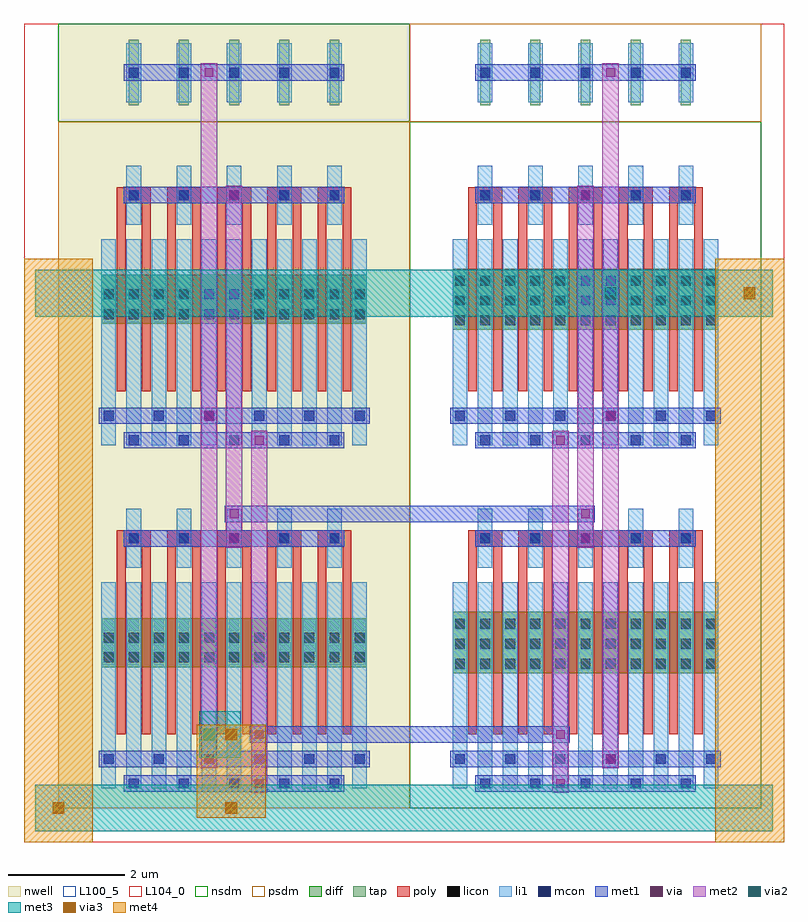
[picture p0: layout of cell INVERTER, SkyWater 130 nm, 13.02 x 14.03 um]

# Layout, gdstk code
import gdstk
lib = gdstk.Library(unit=1e-6, precision=1e-09)
def R(c, l, rs):  # rectangles x0, y0, x1, y1
    for r in rs: c.add(gdstk.rectangle(r[:2], r[2:], *l))
def A(c, l, x, y, w, h, nx, ny, dx, dy):  # array of equal rectangles
    R(c, l, [(x+i*dx, y+j*dy, x+i*dx+w, y+j*dy+h) for i in range(nx) for j in range(ny)])
nwell = (64, 20)
diff = (65, 20)
tap = (65, 44)
poly = (66, 20)
licon = (66, 44)
li1 = (67, 20)
mcon = (67, 44)
met1 = (68, 20)
via = (68, 44)
met2 = (69, 20)
via2 = (69, 44)
met3 = (70, 20)
via3 = (70, 44)
met4 = (71, 20)
nsdm = (93, 44)
psdm = (94, 20)
L100_5 = (100, 5)
L104_0 = (104, 0)

inverter = lib.new_cell('INVERTER')
R(inverter, nwell, [(0,0,6.02,13.44)])
R(inverter, diff, [(6.755,2.31,11.305,3.36), (0.735,2.415,5.285,3.255), (6.755,8.19,11.305,9.24), (0.735,8.295,5.285,9.135)])
A(inverter, tap, 1.205, 12.04, 0.17, 1.12, 5, 1, 0.86, 0)
A(inverter, tap, 7.225, 12.04, 0.17, 1.12, 5, 1, 0.86, 0)
A(inverter, poly, 1, 1.26, 0.15, 3.36, 10, 2, 0.43, 5.88)
A(inverter, poly, 7.02, 1.26, 0.15, 3.36, 10, 2, 0.43, 5.88)
A(inverter, poly, 1, 4.485, 0.58, 0.27, 5, 2, 0.86, 5.88)
A(inverter, poly, 7.02, 4.485, 0.58, 0.27, 5, 2, 0.86, 5.88)
A(inverter, licon, 6.795, 2.39, 0.17, 0.17, 3, 3, 0.43, 0.34)
A(inverter, licon, 7.655, 2.39, 0.17, 0.17, 3, 3, 0.43, 0.34)
A(inverter, licon, 8.515, 2.39, 0.17, 0.17, 3, 3, 0.43, 0.34)
A(inverter, licon, 9.375, 2.39, 0.17, 0.17, 3, 3, 0.43, 0.34)
A(inverter, licon, 10.235, 2.39, 0.17, 0.17, 3, 3, 0.43, 0.34)
A(inverter, licon, 0.775, 2.495, 0.17, 0.17, 3, 2, 0.43, 0.34)
A(inverter, licon, 1.635, 2.495, 0.17, 0.17, 3, 2, 0.43, 0.34)
A(inverter, licon, 2.495, 2.495, 0.17, 0.17, 3, 2, 0.43, 0.34)
A(inverter, licon, 3.355, 2.495, 0.17, 0.17, 3, 2, 0.43, 0.34)
A(inverter, licon, 4.215, 2.495, 0.17, 0.17, 3, 2, 0.43, 0.34)
A(inverter, licon, 1.205, 4.535, 0.17, 0.17, 5, 2, 0.86, 5.88)
A(inverter, licon, 7.225, 4.535, 0.17, 0.17, 5, 2, 0.86, 5.88)
A(inverter, licon, 6.795, 8.27, 0.17, 0.17, 3, 3, 0.43, 0.34)
A(inverter, licon, 7.655, 8.27, 0.17, 0.17, 3, 3, 0.43, 0.34)
A(inverter, licon, 8.515, 8.27, 0.17, 0.17, 3, 3, 0.43, 0.34)
A(inverter, licon, 9.375, 8.27, 0.17, 0.17, 3, 3, 0.43, 0.34)
A(inverter, licon, 10.235, 8.27, 0.17, 0.17, 3, 3, 0.43, 0.34)
A(inverter, licon, 0.775, 8.375, 0.17, 0.17, 3, 2, 0.43, 0.34)
A(inverter, licon, 1.635, 8.375, 0.17, 0.17, 3, 2, 0.43, 0.34)
A(inverter, licon, 2.495, 8.375, 0.17, 0.17, 3, 2, 0.43, 0.34)
A(inverter, licon, 3.355, 8.375, 0.17, 0.17, 3, 2, 0.43, 0.34)
A(inverter, licon, 4.215, 8.375, 0.17, 0.17, 3, 2, 0.43, 0.34)
R(inverter, licon, [(1.205,12.515,1.375,12.685), (1.205,12.515,1.375,12.685), (2.065,12.515,2.235,12.685), (2.065,12.515,2.235,12.685), (2.925,12.515,3.095,12.685), (2.925,12.515,3.095,12.685), (3.785,12.515,3.955,12.685), (3.785,12.515,3.955,12.685), (4.645,12.515,4.815,12.685), (4.645,12.515,4.815,12.685), (7.225,12.515,7.395,12.685), (7.225,12.515,7.395,12.685), (8.085,12.515,8.255,12.685), (8.085,12.515,8.255,12.685), (8.945,12.515,9.115,12.685), (8.945,12.515,9.115,12.685), (9.805,12.515,9.975,12.685), (9.805,12.515,9.975,12.685), (10.665,12.515,10.835,12.685), (10.665,12.515,10.835,12.685)])
A(inverter, li1, 0.735, 0.335, 0.25, 3.53, 11, 2, 0.43, 5.88)
A(inverter, li1, 6.755, 0.335, 0.25, 3.53, 11, 2, 0.43, 5.88)
A(inverter, li1, 1.165, 4.115, 0.25, 1.01, 5, 2, 0.86, 5.88)
A(inverter, li1, 7.185, 4.115, 0.25, 1.01, 5, 2, 0.86, 5.88)
A(inverter, li1, 1.165, 12.095, 0.25, 1.01, 5, 1, 0.86, 0)
A(inverter, li1, 7.185, 12.095, 0.25, 1.01, 5, 1, 0.86, 0)
A(inverter, mcon, 1.205, 0.335, 0.17, 0.17, 5, 2, 0.86, 4.2)
A(inverter, mcon, 7.225, 0.335, 0.17, 0.17, 5, 2, 0.86, 4.2)
A(inverter, mcon, 0.775, 0.755, 0.17, 0.17, 6, 2, 0.86, 5.88)
A(inverter, mcon, 6.795, 0.755, 0.17, 0.17, 6, 2, 0.86, 5.88)
A(inverter, mcon, 1.205, 6.215, 0.17, 0.17, 5, 2, 0.86, 4.2)
A(inverter, mcon, 7.225, 6.215, 0.17, 0.17, 5, 2, 0.86, 4.2)
A(inverter, mcon, 1.205, 12.515, 0.17, 0.17, 5, 1, 0.86, 0)
A(inverter, mcon, 7.225, 12.515, 0.17, 0.17, 5, 1, 0.86, 0)
R(inverter, met1, [(1.12,0.28,4.9,0.56), (7.14,0.28,10.92,0.56), (0.69,0.7,5.33,0.98), (6.71,0.7,11.35,0.98), (3.28,1.12,8.76,1.4), (1.12,4.48,4.9,4.76), (7.14,4.48,10.92,4.76), (2.85,4.9,9.19,5.18), (1.12,6.16,4.9,6.44), (7.14,6.16,10.92,6.44), (0.69,6.58,5.33,6.86), (6.71,6.58,11.35,6.86), (1.12,10.36,4.9,10.64), (7.14,10.36,10.92,10.64), (1.12,12.46,4.9,12.74), (7.14,12.46,10.92,12.74)])
A(inverter, via, 2.505, 0.765, 0.15, 0.15, 1, 3, 0, 5.88)
A(inverter, via, 9.385, 0.765, 0.15, 0.15, 1, 3, 0, 5.88)
R(inverter, via, [(3.365,0.345,3.515,0.495), (8.525,0.345,8.675,0.495), (3.365,1.185,3.515,1.335), (8.525,1.185,8.675,1.335), (2.935,4.545,3.085,4.695), (8.955,4.545,9.105,4.695), (2.935,4.965,3.085,5.115), (8.955,4.965,9.105,5.115), (3.365,6.225,3.515,6.375), (8.525,6.225,8.675,6.375), (2.935,10.425,3.085,10.575), (8.955,10.425,9.105,10.575)])
R(inverter, met2, [(3.3,0.26,3.58,6.46), (8.46,0.26,8.74,6.46), (2.44,0.68,2.72,12.76), (9.32,0.68,9.6,12.76), (2.87,4.46,3.15,10.66), (8.89,4.46,9.17,10.66)])
R(inverter, via2, [(2.48,1.16,2.68,1.36), (9.36,8.72,9.56,8.92)])
R(inverter, met3, [(-0.4,-0.4,12.24,0.4), (2.415,0.86,3.125,1.66), (-0.4,8.42,12.24,9.22)])
R(inverter, via3, [(-0.1,-0.1,0.1,0.1), (2.86,-0.1,3.06,0.1), (2.86,1.16,3.06,1.36), (11.74,8.72,11.94,8.92)])
R(inverter, met4, [(-0.59,-0.59,0.59,9.41), (11.25,-0.59,12.43,9.41), (2.37,-0.165,3.55,1.425)])
R(inverter, nsdm, [(6.02,0,12.04,11.76), (0,11.76,6.02,13.44)])
R(inverter, psdm, [(0,0,6.02,11.76), (6.02,11.76,12.04,13.44)])
R(inverter, L100_5, [(-0.59,-0.59,12.43,13.44)])
R(inverter, L104_0, [(-0.59,-0.59,12.43,13.44)])

lib.write_gds('INVERTER.gds')
